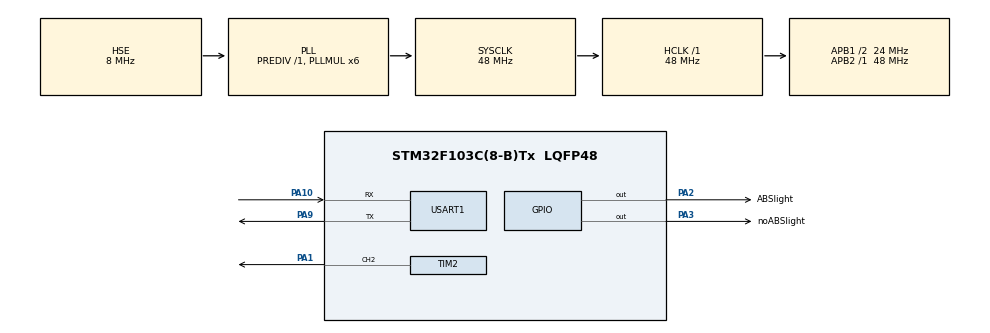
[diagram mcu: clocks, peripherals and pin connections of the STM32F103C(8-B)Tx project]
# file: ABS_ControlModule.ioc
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Mcu.Family=STM32F1
Mcu.Name=STM32F103C(8-B)Tx
Mcu.Package=LQFP48
NVIC.PriorityGroup=NVIC_PRIORITYGROUP_4
NVIC.TIM1_UP_IRQn=true\:15\:0\:false\:false\:true\:false\:true\:true
NVIC.TimeBase=TIM1_UP_IRQn
NVIC.TimeBaseIP=TIM1
NVIC.USART1_IRQn=true\:0\:0\:false\:false\:true\:true\:true\:true
PA1.Signal=S_TIM2_CH2
PA10.Mode=Asynchronous
PA10.Signal=USART1_RX
PA13.Mode=Serial_Wire
PA13.Signal=SYS_JTMS-SWDIO
PA14.Mode=Serial_Wire
PA14.Signal=SYS_JTCK-SWCLK
PA2.GPIO_Label=ABSlight
PA2.Signal=GPIO_Output
PA3.GPIO_Label=noABSlight
PA3.Signal=GPIO_Output
PA9.Mode=Asynchronous
PA9.Signal=USART1_TX
PD0-OSC_IN.Mode=HSE-External-Oscillator
PD0-OSC_IN.Signal=RCC_OSC_IN
PD1-OSC_OUT.Mode=HSE-External-Oscillator
PD1-OSC_OUT.Signal=RCC_OSC_OUT
ProjectManager.HeapSize=0x200
ProjectManager.StackSize=0x400
ProjectManager.TargetToolchain=STM32CubeIDE
RCC.ADCPresc=RCC_ADCPCLK2_DIV4
RCC.AHBFreq_Value=48000000
RCC.APB1CLKDivider=RCC_HCLK_DIV2
RCC.APB1Freq_Value=24000000
RCC.APB1TimFreq_Value=48000000
RCC.APB2Freq_Value=48000000
RCC.APB2TimFreq_Value=48000000
RCC.HCLKFreq_Value=48000000
RCC.PLLMUL=RCC_PLL_MUL6
RCC.PLLSourceVirtual=RCC_PLLSOURCE_HSE
RCC.SYSCLKFreq_VALUE=48000000
RCC.SYSCLKSource=RCC_SYSCLKSOURCE_PLLCLK
RCC.USBFreq_Value=48000000
SH.S_TIM2_CH2.0=TIM2_CH2,PWM Generation2 CH2
TIM2.Channel-PWM\ Generation2\ CH2=TIM_CHANNEL_2
TIM2.Period=100-1
TIM2.Prescaler=48000-1
USART1.VirtualMode=VM_ASYNC
VP_SYS_VS_tim1.Mode=TIM1
VP_TIM2_VS_ClockSourceINT.Mode=Internal
board=custom

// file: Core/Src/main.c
/* USER CODE BEGIN Header */
/**
  ******************************************************************************
  * @file           : main.c
  * @brief          : Main program body
  ******************************************************************************
  * @attention
  *
  * Copyright (c) 2023 STMicroelectronics.
  * All rights reserved.
  *
  * This software is licensed under terms that can be found in the LICENSE file
  * in the root directory of this software component.
  * If no LICENSE file comes with this software, it is provided AS-IS.
  *
  ******************************************************************************
  */
/* USER CODE END Header */
#include "main.h"

/* USER CODE BEGIN Includes */
#include "FreeRTOS.h"
#include "task.h"
#include <stdlib.h>
/* USER CODE END Includes */

/* USER CODE BEGIN PD */
#define BRAKE_NO_ABS	255
#define BRAKE_ABS		0
/* USER CODE END PD */

TIM_HandleTypeDef htim2;

UART_HandleTypeDef huart1;

void SystemClock_Config(void);
static void MX_GPIO_Init(void);
static void MX_TIM2_Init(void);
static void MX_USART1_UART_Init(void);
/* USER CODE BEGIN PFP */
void normalRunning(void*);
void brakeWithABS(void*);
void brakeWithoutABS(void*);
/* USER CODE END PFP */

/* USER CODE BEGIN 0 */
/**
 * 0: vehicle speed = 100
 * 1: duty cycle or wheel speed (assume)
 * 2: ABS button press test
 * 3: no ABS button press test
 * */
uint8_t vehicleSpeed = 100;
uint8_t wheelSpeed;

const TickType_t xDelay = 500 / portTICK_PERIOD_MS; // delay for 500ms
float slip_ratio;

TaskHandle_t normalRunning_handle;
TaskHandle_t abs_handle;
TaskHandle_t no_abs_handle;

void HAL_UART_RxCpltCallback(UART_HandleTypeDef *huart){
	slip_ratio = abs(vehicleSpeed - wheelSpeed) / (float)vehicleSpeed;
	HAL_UART_Receive_IT(huart, &wheelSpeed, 1);
}
/* USER CODE END 0 */

int main(void)
{

  /* MCU Configuration--------------------------------------------------------*/

  /* Reset of all peripherals, Initializes the Flash interface and the Systick. */
  HAL_Init();

  /* Configure the system clock */
  SystemClock_Config();

  /* Initialize all configured peripherals */
  MX_GPIO_Init();
  MX_TIM2_Init();
  MX_USART1_UART_Init();
  /* USER CODE BEGIN 2 */

  HAL_TIM_Base_Start(&htim2);
  HAL_TIM_PWM_Start(&htim2,TIM_CHANNEL_2);

//  HAL_UART_Receive_IT(&huart1, dataFromSensor, 4);

  xTaskCreate(normalRunning, "Normal running", 100, NULL, 0, &normalRunning_handle);
  xTaskCreate(brakeWithABS, "Brake with ABS", 100, NULL, 0, &abs_handle);
  xTaskCreate(brakeWithoutABS, "Brake without ABS", 100, NULL, 0, &no_abs_handle);

  vTaskStartScheduler();

  /* USER CODE END 2 */

  /* Infinite loop */
  while (1)
  {

  }
}

void SystemClock_Config(void)
{
  RCC_OscInitTypeDef RCC_OscInitStruct = {0};
  RCC_ClkInitTypeDef RCC_ClkInitStruct = {0};

  /** Initializes the RCC Oscillators according to the specified parameters
  * in the RCC_OscInitTypeDef structure.
  */
  RCC_OscInitStruct.OscillatorType = RCC_OSCILLATORTYPE_HSE;
  RCC_OscInitStruct.HSEState = RCC_HSE_ON;
  RCC_OscInitStruct.HSEPredivValue = RCC_HSE_PREDIV_DIV1;
  RCC_OscInitStruct.HSIState = RCC_HSI_ON;
  RCC_OscInitStruct.PLL.PLLState = RCC_PLL_ON;
  RCC_OscInitStruct.PLL.PLLSource = RCC_PLLSOURCE_HSE;
  RCC_OscInitStruct.PLL.PLLMUL = RCC_PLL_MUL6;
  if (HAL_RCC_OscConfig(&RCC_OscInitStruct) != HAL_OK)
  {
    Error_Handler();
  }

  /** Initializes the CPU, AHB and APB buses clocks
  */
  RCC_ClkInitStruct.ClockType = RCC_CLOCKTYPE_HCLK|RCC_CLOCKTYPE_SYSCLK
                              |RCC_CLOCKTYPE_PCLK1|RCC_CLOCKTYPE_PCLK2;
  RCC_ClkInitStruct.SYSCLKSource = RCC_SYSCLKSOURCE_PLLCLK;
  RCC_ClkInitStruct.AHBCLKDivider = RCC_SYSCLK_DIV1;
  RCC_ClkInitStruct.APB1CLKDivider = RCC_HCLK_DIV2;
  RCC_ClkInitStruct.APB2CLKDivider = RCC_HCLK_DIV1;

  if (HAL_RCC_ClockConfig(&RCC_ClkInitStruct, FLASH_LATENCY_1) != HAL_OK)
  {
    Error_Handler();
  }
}

static void MX_TIM2_Init(void)
{

  TIM_ClockConfigTypeDef sClockSourceConfig = {0};
  TIM_MasterConfigTypeDef sMasterConfig = {0};
  TIM_OC_InitTypeDef sConfigOC = {0};

  htim2.Instance = TIM2;
  htim2.Init.Prescaler = 48000-1;
  htim2.Init.CounterMode = TIM_COUNTERMODE_UP;
  htim2.Init.Period = 100-1;
  htim2.Init.ClockDivision = TIM_CLOCKDIVISION_DIV1;
  htim2.Init.AutoReloadPreload = TIM_AUTORELOAD_PRELOAD_DISABLE;
  if (HAL_TIM_Base_Init(&htim2) != HAL_OK)
  {
    Error_Handler();
  }
  sClockSourceConfig.ClockSource = TIM_CLOCKSOURCE_INTERNAL;
  if (HAL_TIM_ConfigClockSource(&htim2, &sClockSourceConfig) != HAL_OK)
  {
    Error_Handler();
  }
  if (HAL_TIM_PWM_Init(&htim2) != HAL_OK)
  {
    Error_Handler();
  }
  sMasterConfig.MasterOutputTrigger = TIM_TRGO_RESET;
  sMasterConfig.MasterSlaveMode = TIM_MASTERSLAVEMODE_DISABLE;
  if (HAL_TIMEx_MasterConfigSynchronization(&htim2, &sMasterConfig) != HAL_OK)
  {
    Error_Handler();
  }
  sConfigOC.OCMode = TIM_OCMODE_PWM1;
  sConfigOC.Pulse = 0;
  sConfigOC.OCPolarity = TIM_OCPOLARITY_HIGH;
  sConfigOC.OCFastMode = TIM_OCFAST_DISABLE;
  if (HAL_TIM_PWM_ConfigChannel(&htim2, &sConfigOC, TIM_CHANNEL_2) != HAL_OK)
  {
    Error_Handler();
  }
  HAL_TIM_MspPostInit(&htim2);

}

static void MX_USART1_UART_Init(void)
{

  huart1.Instance = USART1;
  huart1.Init.BaudRate = 115200;
  huart1.Init.WordLength = UART_WORDLENGTH_8B;
  huart1.Init.StopBits = UART_STOPBITS_1;
  huart1.Init.Parity = UART_PARITY_NONE;
  huart1.Init.Mode = UART_MODE_TX_RX;
  huart1.Init.HwFlowCtl = UART_HWCONTROL_NONE;
  huart1.Init.OverSampling = UART_OVERSAMPLING_16;
  if (HAL_UART_Init(&huart1) != HAL_OK)
  {
    Error_Handler();
  }

}

static void MX_GPIO_Init(void)
{
  GPIO_InitTypeDef GPIO_InitStruct = {0};

  /* GPIO Ports Clock Enable */
  __HAL_RCC_GPIOD_CLK_ENABLE();
  __HAL_RCC_GPIOA_CLK_ENABLE();

  /*Configure GPIO pin Output Level */
  HAL_GPIO_WritePin(GPIOA, ABSlight_Pin|noABSlight_Pin, GPIO_PIN_RESET);

  /*Configure GPIO pins : ABSlight_Pin noABSlight_Pin */
  GPIO_InitStruct.Pin = ABSlight_Pin|noABSlight_Pin;
  GPIO_InitStruct.Mode = GPIO_MODE_OUTPUT_PP;
  GPIO_InitStruct.Pull = GPIO_NOPULL;
  GPIO_InitStruct.Speed = GPIO_SPEED_FREQ_LOW;
  HAL_GPIO_Init(GPIOA, &GPIO_InitStruct);

}

/* USER CODE BEGIN 4 */
void normalRunning(void *parameter){
	while(1){
		vTaskSuspend(abs_handle);
		vTaskSuspend(no_abs_handle);

		/* take data from SensorSimu */
		HAL_UART_Receive_IT(&huart1, &wheelSpeed, 1);

		if (wheelSpeed == BRAKE_NO_ABS)
			vTaskResume(no_abs_handle);
		else if (wheelSpeed == BRAKE_ABS)
			vTaskResume(abs_handle);
		else {
			__HAL_TIM_SET_COMPARE(&htim2, TIM_CHANNEL_2, wheelSpeed);

			/* ABS active */
			if (slip_ratio >= 0.85)
				vTaskResume(abs_handle);

		}
	}
}

void brakeWithABS(void *parameter){
	while (1){	// while here to let this task conquer CPU
		vTaskSuspend(normalRunning_handle);
		vTaskSuspend(no_abs_handle);
		/* ABS light to notify ABS is on active */
		HAL_GPIO_WritePin(ABSlight_GPIO_Port, ABSlight_Pin, 1); // set user label for GPIO pin in MX

		uint8_t wSpeed = wheelSpeed;
		uint8_t vSpeed = vehicleSpeed;
		float slip_ratio_local;

		/* Slip stable phase */
		while(1){
			vSpeed -= 10;
			wSpeed += 2;
			slip_ratio_local = abs(vSpeed - wSpeed) / (float)vSpeed;

			if (slip_ratio_local < 0.4){
				/* Brake slowly phase */
				int8_t i;
				for (i = (int8_t) wSpeed; i >= 0; i -= 2){
					__HAL_TIM_SetCompare(&htim2, TIM_CHANNEL_2, i);
					vTaskDelay(xDelay);
				}

				vTaskDelay(2000/ portTICK_PERIOD_MS);
				HAL_GPIO_WritePin(ABSlight_GPIO_Port, ABSlight_Pin, 0);
				break;	// done ABS phase, return to normal
			} else {
				__HAL_TIM_SetCompare(&htim2, TIM_CHANNEL_2, wSpeed);
				vTaskDelay(xDelay);
			}
		}
		vTaskResume(normalRunning_handle);

		/* take wheel speed at point of block wheel */
//		while(1){
//
//			uint8_t vSpeed = vehicleSpeed;
//			int8_t dutyCycle = wheelSpeed;
//			int8_t i;
//
//			/** assume that when wheel is blocked
//			 * - Vehicle speed will gradually decrease
//			 * - wheel cycle < vehicle much (because it is blocked
//			 *
//			 * Solve: increase wheel slow until slip ratio is < 0.35 then decrease wheel to 0 slowly
//			 * @Follow: https://cecas.clemson.edu/cvel/auto/systems/braking.html
//			 *  */
//			if (vSpeed >= 2) // avoid vehicle = 0 (error divide 0)
//				vSpeed -= 2;
//
//
//			/* increase wheel speed to try to escape slip */
//			dutyCycle += 2;
//
//			__HAL_TIM_SetCompare(&htim2, TIM_CHANNEL_2, dutyCycle);
//
//			slip_ratio = abs(vSpeed - dutyCycle) / (float)vSpeed;
//
//			/* Check slip ration */
//			if (slip_ratio < 0.35){
//	//				/* then stop the car slow */
//				for(i = (int8_t)dutyCycle; i >= 0; i--){
//					__HAL_TIM_SetCompare(&htim2, TIM_CHANNEL_2, i);
//					vTaskDelay(xDelay);
//				}
//
//				/* Resume normal running */
//				HAL_GPIO_WritePin(ABSlight_GPIO_Port, ABSlight_Pin, 0);
//				vTaskResume(normalRunning_handle);
//			}
//		}
	}
}

void brakeWithoutABS(void *parameter){
	while(1){
		vTaskSuspend(normalRunning_handle);
		vTaskSuspend(abs_handle);

		/* Turn on LED of braking without ABS */
		HAL_GPIO_WritePin(noABSlight_GPIO_Port, noABSlight_Pin, 1);

		/* Assume wheel speed approximate 0 when it is blocked */
		__HAL_TIM_SetCompare(&htim2, TIM_CHANNEL_2, 0);
//		HAL_Delay(2000);
		vTaskDelay(2000 / portTICK_PERIOD_MS); // do not work

		HAL_GPIO_WritePin(noABSlight_GPIO_Port, noABSlight_Pin, 0);

		vTaskResume(normalRunning_handle);
	}
}
/* USER CODE END 4 */

void HAL_TIM_PeriodElapsedCallback(TIM_HandleTypeDef *htim)
{
  if (htim->Instance == TIM1) {
    HAL_IncTick();
  }
}

void Error_Handler(void){
  __disable_irq();
  while (1)
  {
  }
}
